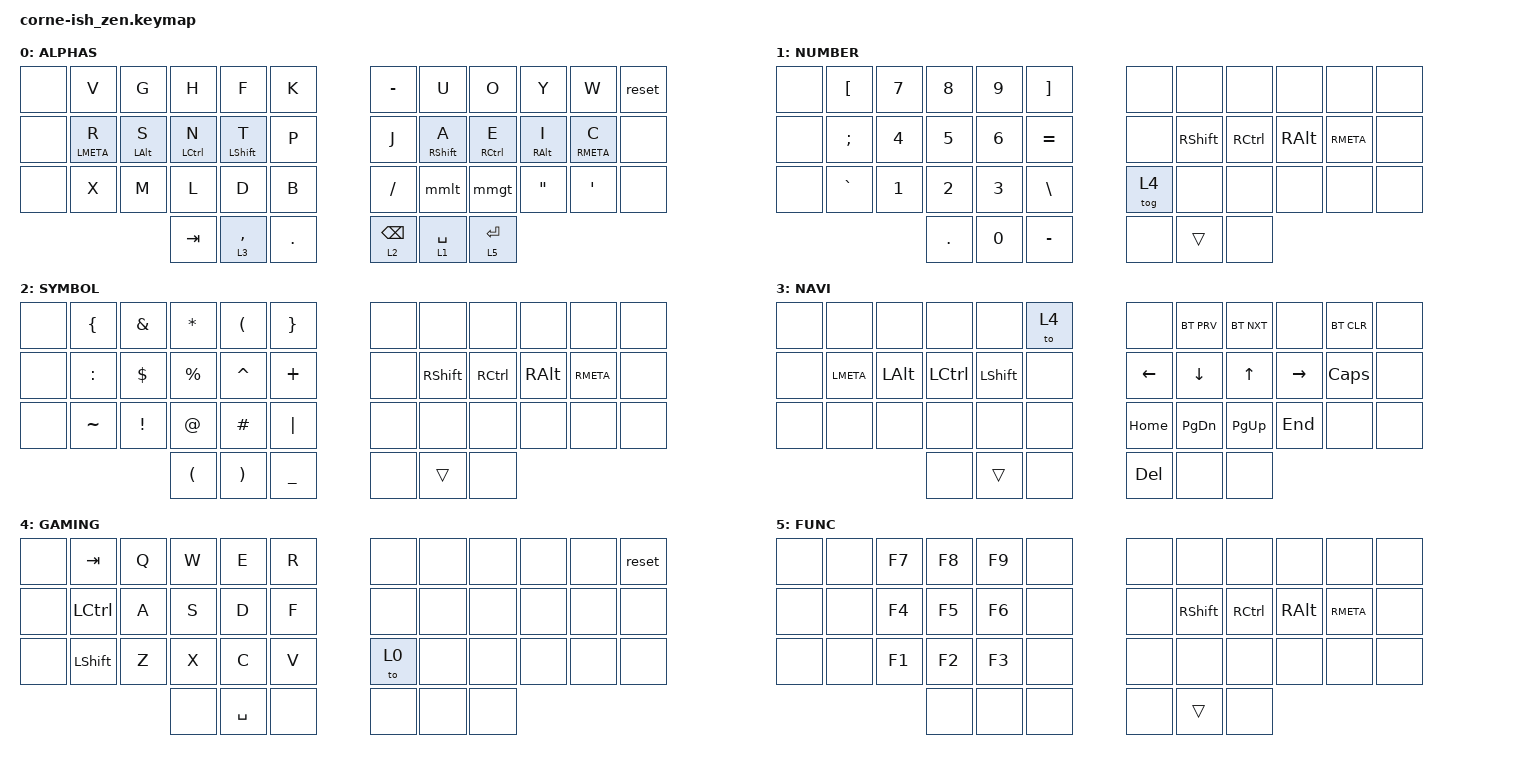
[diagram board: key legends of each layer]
/*
*
* Copyright (c) 2021 Darryl deHaan
* SPDX-License-Identifier: MIT
*
*/

#include <behaviors.dtsi>
#include <dt-bindings/zmk/keys.h>
#include <dt-bindings/zmk/bt.h>

/ {
    combos {
        compatible = "zmk,combos";
        combo_esc {
            timeout-ms = <50>;
            key-positions = <6 7>;
            bindings = <&kp ESC>;
        };
        combo_z {
            timeout-ms = <50>;
            key-positions = <1 2>;
            bindings = <&kp Z>;
        };
        combo_q {
            timeout-ms = <50>;
            key-positions = <4 5>;
            bindings = <&kp Q>;
        };
    };

    behaviors {
        mmlt: mm_lpar_comma {
            compatible = "zmk,behavior-mod-morph";
            label = "LPAR_COMMA";
            #binding-cells = <0>;
            bindings = <&kp LPAR>, <&kp COMMA>;
            mods = <(MOD_LSFT|MOD_RSFT)>;
            masked_mods = <(MOD_LSFT)>;
        };
        mmgt: mm_rpar_dot {
            compatible = "zmk,behavior-mod-morph";
            label = "LPAR_DOT";
            #binding-cells = <0>;
            bindings = <&kp RPAR>, <&kp DOT>;
            mods = <(MOD_LSFT|MOD_RSFT)>;
            masked_mods = <(MOD_LSFT)>;
        };

        hm: homerow_mods {
            compatible = "zmk,behavior-hold-tap";
            label = "HOMEROW_MODS";
            #binding-cells = <2>;
            tapping-term-ms = <150>;
            quick-tap-ms = <0>;
            flavor = "tap-preferred";
            bindings = <&kp>, <&kp>;
        };
        bhm: balanced_homerow_mods {
            compatible = "zmk,behavior-hold-tap";
            label = "HOMEROW_MODS";
            #binding-cells = <2>;
            tapping-term-ms = <200>;    // <---[[moderate duration]]
            quick-tap-ms = <0>;
            flavor = "balanced";
            bindings = <&kp>, <&kp>;
        };
    };


    keymap {
        compatible = "zmk,keymap";

        default_layer {
            label = "ALPHAS";
            bindings = <
   &none &kp V       &kp G      &kp H       &kp F       &kp K   &kp MINUS &kp U        &kp O        &kp Y       &kp W        &reset
   &none &hm LMETA R &hm LALT S &hm LCTRL N &hm LSHFT T &kp P   &kp J     &bhm RSHFT A &bhm RCTRL E &bhm RALT I &bhm RMETA C &none
   &none &kp X       &kp M      &kp L       &kp D       &kp B   &kp SLASH &mmlt        &mmgt        &kp DQT     &kp SQT      &none
                                &kp TAB  &lt 3 COMMA  &kp DOT   &lt 2 BSPC  &lt 1 SPACE  &lt 5 RET
            >;
        };

        number_layer {
            label = "NUMBER";
            bindings = <
   &none &kp LBKT  &kp N7 &kp N8 &kp N9 &kp RBKT    &none  &none     &none     &none    &none     &none
   &none &kp SEMI  &kp N4 &kp N5 &kp N6 &kp EQUAL   &none  &kp RSHFT &kp RCTRL &kp RALT &kp RMETA &none
   &none &kp GRAVE &kp N1 &kp N2 &kp N3 &kp BSLH    &tog 4 &none     &none     &none    &none     &none
                       &kp DOT  &kp N0  &kp MINUS   &none  &trans  &none
            >;
        };

        symbol_layer {
            label = "SYMBOL";
            bindings = <
   &none &kp LBRC  &kp AMPS &kp STAR  &kp LPAR  &kp RBRC   &none &none     &none     &none    &none     &none
   &none &kp COLON &kp DLLR &kp PRCNT &kp CARET &kp PLUS   &none &kp RSHFT &kp RCTRL &kp RALT &kp RMETA &none
   &none &kp TILDE &kp EXCL &kp AT    &kp HASH  &kp PIPE   &none &none     &none     &none    &none     &none
                           &kp LPAR  &kp RPAR  &kp UNDER   &none  &trans  &none
            >;
        };

        navigation_layer {
            label = " NAVI ";
            bindings = <
   &none &none     &none    &none     &none     &to 4   &none    &bt BT_PRV &bt BT_NXT &none     &bt BT_CLR &none
   &none &kp LMETA &kp LALT &kp LCTRL &kp LSHFT &none   &kp LEFT &kp DOWN   &kp UP     &kp RIGHT &kp CAPS   &none
   &none &none     &none    &none     &none     &none   &kp HOME &kp PG_DN  &kp PG_UP  &kp END   &none      &none
                                 &none  &trans  &none   &kp DEL  &none  &none
            >;
        };

        gaming_layer {
            label = "GAMING";
            bindings = <
   &none &kp TAB   &kp Q &kp W &kp E &kp R   &none  &none &none &none &none &reset
   &none &kp LCTRL &kp A &kp S &kp D &kp F   &none  &none &none &none &none &none
   &none &kp LSHFT &kp Z &kp X &kp C &kp V   &to 0  &none &none &none &none &none
                   &none  &kp SPACE  &none   &none  &none  &none
            >;
        };

        function_layer {
            label = " FUNC ";
            bindings = <
   &none &none &kp F7 &kp F8 &kp F9 &none   &none  &none     &none     &none    &none     &none
   &none &none &kp F4 &kp F5 &kp F6 &none   &none  &kp RSHFT &kp RCTRL &kp RALT &kp RMETA &none
   &none &none &kp F1 &kp F2 &kp F3 &none   &none  &none     &none     &none    &none     &none
                      &none  &none  &none   &none  &trans  &none
            >;
        };
    };
};
